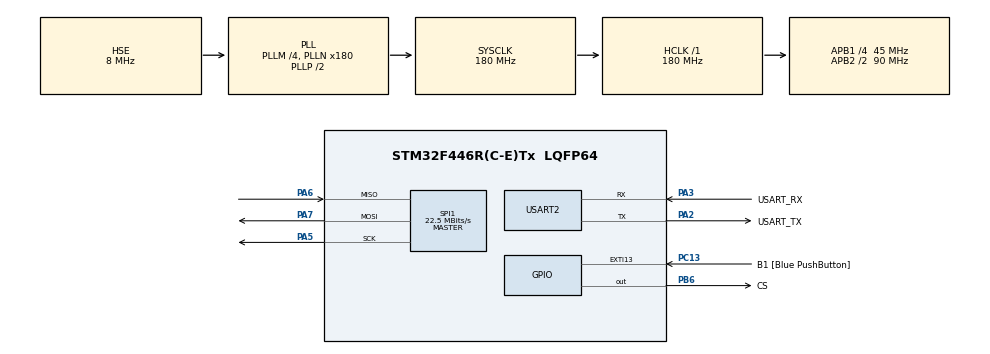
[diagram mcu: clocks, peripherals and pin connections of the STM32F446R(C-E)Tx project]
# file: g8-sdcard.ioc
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Mcu.Family=STM32F4
Mcu.Name=STM32F446R(C-E)Tx
Mcu.Package=LQFP64
NVIC.PriorityGroup=NVIC_PRIORITYGROUP_0
PA13.GPIO_Label=TMS
PA13.Mode=Serial_Wire
PA13.Signal=SYS_JTMS-SWDIO
PA14.GPIO_Label=TCK
PA14.Mode=Serial_Wire
PA14.Signal=SYS_JTCK-SWCLK
PA2.GPIO_Label=USART_TX
PA2.Mode=Asynchronous
PA2.Signal=USART2_TX
PA3.GPIO_Label=USART_RX
PA3.Mode=Asynchronous
PA3.Signal=USART2_RX
PA5.Mode=Full_Duplex_Master
PA5.Signal=SPI1_SCK
PA6.Mode=Full_Duplex_Master
PA6.Signal=SPI1_MISO
PA7.Mode=Full_Duplex_Master
PA7.Signal=SPI1_MOSI
PB3.GPIO_Label=SWO
PB3.Signal=SYS_JTDO-SWO
PB6.GPIO_Label=CS
PB6.Signal=GPIO_Output
PC13.GPIO_Label=B1 [Blue PushButton]
PC13.GPIO_ModeDefaultEXTI=GPIO_MODE_IT_FALLING
PC13.Signal=GPXTI13
PC14-OSC32_IN.Mode=LSE-External-Oscillator
PC14-OSC32_IN.Signal=RCC_OSC32_IN
PC15-OSC32_OUT.Mode=LSE-External-Oscillator
PC15-OSC32_OUT.Signal=RCC_OSC32_OUT
PH0-OSC_IN.Mode=HSE-External-Oscillator
PH0-OSC_IN.Signal=RCC_OSC_IN
PH1-OSC_OUT.Mode=HSE-External-Oscillator
PH1-OSC_OUT.Signal=RCC_OSC_OUT
ProjectManager.HeapSize=0x200
ProjectManager.StackSize=0x400
ProjectManager.TargetToolchain=SW4STM32
RCC.48MHZClocksFreq_Value=84000000
RCC.AHBFreq_Value=180000000
RCC.APB1CLKDivider=RCC_HCLK_DIV4
RCC.APB1Freq_Value=45000000
RCC.APB1TimFreq_Value=90000000
RCC.APB2CLKDivider=RCC_HCLK_DIV2
RCC.APB2Freq_Value=90000000
RCC.APB2TimFreq_Value=180000000
RCC.CortexFreq_Value=180000000
RCC.FLatency-AdvancedSettings=FLASH_LATENCY_5
RCC.HCLKFreq_Value=180000000
RCC.HSE_VALUE=8000000
RCC.HSI_VALUE=16000000
RCC.PLLM=4
RCC.PLLN=180
RCC.PLLSourceVirtual=RCC_PLLSOURCE_HSE
RCC.SYSCLKFreq_VALUE=180000000
RCC.SYSCLKSource=RCC_SYSCLKSOURCE_PLLCLK
RCC.USBFreq_Value=180000000
RCC.VCOOutputFreq_Value=360000000
SPI1.BaudRatePrescaler=SPI_BAUDRATEPRESCALER_4
SPI1.CalculateBaudRate=22.5 MBits/s
SPI1.Direction=SPI_DIRECTION_2LINES
SPI1.Mode=SPI_MODE_MASTER
SPI1.VirtualType=VM_MASTER
USART2.VirtualMode=VM_ASYNC
VP_FATFS_VS_Generic.Mode=User_defined
board=NUCLEO-F446RE

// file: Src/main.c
/**
  ******************************************************************************
  * @file           : main.c
  * @brief          : Main program body
  ******************************************************************************
  * This notice applies to any and all portions of this file
  * that are not between comment pairs USER CODE BEGIN and
  * USER CODE END. Other portions of this file, whether
  * inserted by the user or by software development tools
  * are owned by their respective copyright owners.
  *
  * Copyright (c) 2018 STMicroelectronics International N.V.
  * All rights reserved.
  *
  * Redistribution and use in source and binary forms, with or without
  * modification, are permitted, provided that the following conditions are met:
  *
  * 1. Redistribution of source code must retain the above copyright notice,
  *    this list of conditions and the following disclaimer.
  * 2. Redistributions in binary form must reproduce the above copyright notice,
  *    this list of conditions and the following disclaimer in the documentation
  *    and/or other materials provided with the distribution.
  * 3. Neither the name of STMicroelectronics nor the names of other
  *    contributors to this software may be used to endorse or promote products
  *    derived from this software without specific written permission.
  * 4. This software, including modifications and/or derivative works of this
  *    software, must execute solely and exclusively on microcontroller or
  *    microprocessor devices manufactured by or for STMicroelectronics.
  * 5. Redistribution and use of this software other than as permitted under
  *    this license is void and will automatically terminate your rights under
  *    this license.
  *
  * THIS SOFTWARE IS PROVIDED BY STMICROELECTRONICS AND CONTRIBUTORS "AS IS"
  * AND ANY EXPRESS, IMPLIED OR STATUTORY WARRANTIES, INCLUDING, BUT NOT
  * LIMITED TO, THE IMPLIED WARRANTIES OF MERCHANTABILITY, FITNESS FOR A
  * PARTICULAR PURPOSE AND NON-INFRINGEMENT OF THIRD PARTY INTELLECTUAL PROPERTY
  * RIGHTS ARE DISCLAIMED TO THE FULLEST EXTENT PERMITTED BY LAW. IN NO EVENT
  * SHALL STMICROELECTRONICS OR CONTRIBUTORS BE LIABLE FOR ANY DIRECT, INDIRECT,
  * INCIDENTAL, SPECIAL, EXEMPLARY, OR CONSEQUENTIAL DAMAGES (INCLUDING, BUT NOT
  * LIMITED TO, PROCUREMENT OF SUBSTITUTE GOODS OR SERVICES; LOSS OF USE, DATA,
  * OR PROFITS; OR BUSINESS INTERRUPTION) HOWEVER CAUSED AND ON ANY THEORY OF
  * LIABILITY, WHETHER IN CONTRACT, STRICT LIABILITY, OR TORT (INCLUDING
  * NEGLIGENCE OR OTHERWISE) ARISING IN ANY WAY OUT OF THE USE OF THIS SOFTWARE,
  * EVEN IF ADVISED OF THE POSSIBILITY OF SUCH DAMAGE.
  *
  ******************************************************************************
  */
#include "main.h"
#include "stm32f4xx_hal.h"
#include "fatfs.h"
#include "spi.h"
#include "usart.h"
#include "gpio.h"

/* USER CODE BEGIN Includes */
#include "lcd.h"
/* USER CODE END Includes */

/* USER CODE BEGIN PV */
/* Private variables ---------------------------------------------------------*/

/* USER CODE END PV */

void SystemClock_Config(void);

/* USER CODE BEGIN PFP */
/* Private function prototypes -----------------------------------------------*/

/* USER CODE END PFP */

/* USER CODE BEGIN 0 */
FRESULT fres;

/* USER CODE END 0 */

int main(void)
{

  /* MCU Configuration----------------------------------------------------------*/

  /* Reset of all peripherals, Initializes the Flash interface and the Systick. */
  HAL_Init();

  /* Configure the system clock */
  SystemClock_Config();

  /* Initialize all configured peripherals */
  MX_GPIO_Init();
  MX_USART2_UART_Init();
  MX_SPI1_Init();
  MX_FATFS_Init();
  /* USER CODE BEGIN 2 */
  LCD_Init();

  	/* Initialize SD Card low level SPI driver */
  	FATFS_SPI_Init(&hspi1);
  	/* Mount SDCARD */
  	if (f_mount(&USERFatFS, "", 1) != FR_OK) {
  		/* Unmount SDCARD */
  		f_mount(NULL, "", 0);
  		Error_Handler();
  	}

  /* USER CODE END 2 */

  /* Infinite loop */
  /* USER CODE BEGIN WHILE */

		LCD_SetTextColor(YELLOW, BLACK);
  while (1)
  {
	  /* Try to open file */
 	  		fres = f_open(&USERFile, "galaxy.txt", FA_READ | FA_WRITE);
	  		if (fres == FR_OK) {
	  			char buff[200];
	  			LCD_SetCursor(0, 0);
	  			LCD_FillScreen(BLACK);
	  			while (f_gets(buff, 200, &USERFile)) {
	  				LCD_Printf(buff);
	  				HAL_Delay(500);
	  			}
	  			f_close(&USERFile);
	  		}

	  		HAL_Delay(1000);

  /* USER CODE END WHILE */

  }

}

void SystemClock_Config(void)
{

  RCC_OscInitTypeDef RCC_OscInitStruct;
  RCC_ClkInitTypeDef RCC_ClkInitStruct;

    /**Configure the main internal regulator output voltage
    */
  __HAL_RCC_PWR_CLK_ENABLE();

  __HAL_PWR_VOLTAGESCALING_CONFIG(PWR_REGULATOR_VOLTAGE_SCALE1);

    /**Initializes the CPU, AHB and APB busses clocks
    */
  RCC_OscInitStruct.OscillatorType = RCC_OSCILLATORTYPE_HSE;
  RCC_OscInitStruct.HSEState = RCC_HSE_ON;
  RCC_OscInitStruct.PLL.PLLState = RCC_PLL_ON;
  RCC_OscInitStruct.PLL.PLLSource = RCC_PLLSOURCE_HSE;
  RCC_OscInitStruct.PLL.PLLM = 4;
  RCC_OscInitStruct.PLL.PLLN = 180;
  RCC_OscInitStruct.PLL.PLLP = RCC_PLLP_DIV2;
  RCC_OscInitStruct.PLL.PLLQ = 2;
  RCC_OscInitStruct.PLL.PLLR = 2;
  if (HAL_RCC_OscConfig(&RCC_OscInitStruct) != HAL_OK)
  {
    _Error_Handler(__FILE__, __LINE__);
  }

    /**Activate the Over-Drive mode
    */
  if (HAL_PWREx_EnableOverDrive() != HAL_OK)
  {
    _Error_Handler(__FILE__, __LINE__);
  }

    /**Initializes the CPU, AHB and APB busses clocks
    */
  RCC_ClkInitStruct.ClockType = RCC_CLOCKTYPE_HCLK|RCC_CLOCKTYPE_SYSCLK
                              |RCC_CLOCKTYPE_PCLK1|RCC_CLOCKTYPE_PCLK2;
  RCC_ClkInitStruct.SYSCLKSource = RCC_SYSCLKSOURCE_PLLCLK;
  RCC_ClkInitStruct.AHBCLKDivider = RCC_SYSCLK_DIV1;
  RCC_ClkInitStruct.APB1CLKDivider = RCC_HCLK_DIV4;
  RCC_ClkInitStruct.APB2CLKDivider = RCC_HCLK_DIV2;

  if (HAL_RCC_ClockConfig(&RCC_ClkInitStruct, FLASH_LATENCY_5) != HAL_OK)
  {
    _Error_Handler(__FILE__, __LINE__);
  }

    /**Configure the Systick interrupt time
    */
  HAL_SYSTICK_Config(HAL_RCC_GetHCLKFreq()/1000);

    /**Configure the Systick
    */
  HAL_SYSTICK_CLKSourceConfig(SYSTICK_CLKSOURCE_HCLK);

  /* SysTick_IRQn interrupt configuration */
  HAL_NVIC_SetPriority(SysTick_IRQn, 0, 0);
}

void _Error_Handler(char *file, int line)
{
  while(1)
  {
  }
}

/************************ (C) COPYRIGHT STMicroelectronics *****END OF FILE****/
